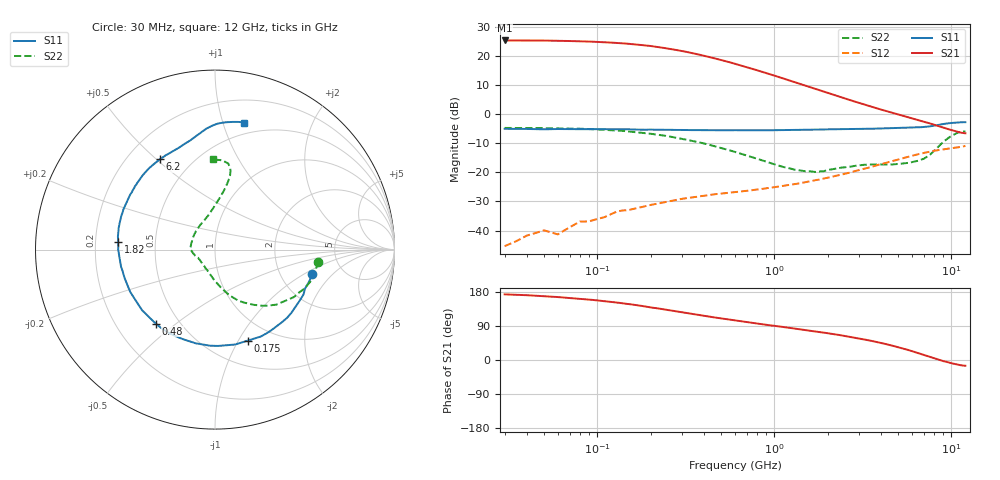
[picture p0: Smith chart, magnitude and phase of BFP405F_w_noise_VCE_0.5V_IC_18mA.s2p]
! Infineon Technologies  Discrete & RF Semiconductors
! BFP405F
! VCE =  0.5 V,  IC =  18 mA
! Common Emitter S-Parameters:  Nov 2015
# GHz  S  MA  R  50
!  f  S11  S21  S12  S22
! GHz  MAG  ANG  MAG  ANG  MAG  ANG  MAG  ANG
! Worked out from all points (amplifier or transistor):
!   239 points, 30 MHz to 12 GHz, reference 50 ohm
!   highest |S21| = 25.3 dB at 30 MHz (marker M1)
!   |S21| within 3 dB of that: start of sweep to 263.6 MHz
!   unconditionally stable (mu >= 1): start of sweep to 76.78 MHz; 525.9 MHz to end of sweep
!   at 300 MHz: K = 0.76, MSG = 25.4 dB, |S12| = -29.1 dB
!   at 1.88 GHz: K = 1.93, MAG = 9.4 dB, |S12| = -22.2 dB
!   at 12 GHz: K = 1.76, MAG = -2.9 dB, |S12| = -10.9 dB
!   lowest NFmin = 2.14 dB at 450 MHz
!   S11 on the Smith chart (normalised r, x): 30 MHz: 3.02, -1.17; 175 MHz: 0.77, -1.10; 480 MHz: 0.37, -0.43; 1.82 GHz: 0.30, +0.04; 6.2 GHz: 0.33, +0.51; 12 GHz: 0.40, +1.18
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0.03  0.5578 -13.9  18.3 173.2  0.0054 54.0  0.5778 -6.7
0.04  0.5547 -18.2  18.27 171.0  0.0082 78.8  0.5751 -9.0
0.05  0.5467 -23.6  18.24 168.2  0.0101 80.7  0.5729 -10.9
0.085  0.5511 -37.7  17.6 160.4  0.0143 77.2  0.5562 -19.7
0.105  0.5511 -45.5  17.18 156.3  0.0164 76.0  0.5398 -24.2
0.125  0.5477 -53.3  16.69 152.3  0.0203 73.2  0.5231 -27.9
0.14  0.5479 -58.6  16.35 149.5  0.0222 66.9  0.5133 -31.0
0.175  0.5389 -70.1  15.34 143.4  0.025 60.3  0.4787 -37.3
0.2  0.5406 -78.0  14.72 138.8  0.0275 57.2  0.4592 -41.9
0.24  0.537 -88.2  13.57 133.3  0.0307 54.7  0.4249 -47.4
0.32  0.5303 -105.4  11.63 124.0  0.036 50.6  0.3613 -57.1
0.4  0.5308 -118.8  10.01 116.6  0.0398 47.5  0.3132 -65.4
0.48  0.5274 -128.6  8.738 111.0  0.0424 45.3  0.2708 -71.6
0.6  0.5284 -140.4  7.266 104.3  0.0457 43.3  0.2235 -79.6
0.9  0.5259 -158.6  5.035 92.9  0.0532 43.6  0.1514 -96.7
1.2  0.532 -169.7  3.825 85.2  0.0601 44.6  0.1187 -114.9
1.64  0.5394 179.2  2.812 76.5  0.0714 46.5  0.1029 -140.5
1.82  0.5419 175.6  2.533 73.5  0.0758 47.1  0.1038 -150.2
2.7  0.5536 161.6  1.716 60.8  0.0997 47.0  0.125 -172.8
4.5  0.5705 139.6  1.077 39.4  0.1513 40.7  0.1362 162.6
6.2  0.5894 121.2  0.822 21.2  0.1969 30.7  0.1521 128.9
12  0.7245 77.1  0.468 -15.2  0.2845 0.4  0.5021 91.2
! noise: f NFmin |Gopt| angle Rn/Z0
0.45  2.14  0.04  -3  0.51
0.9  2.16  0.03  -6  0.3
1.5  2.2  0.02  -39  0.2
1.9  2.26  0.02  -85  0.26
2.4  2.41  0.02  -104  0.39
3  2.5  0.04  -109  0.06
3.5  2.58  0.06  -113  0.22
4.5  2.8  0.12  -102  0.4
5.5  3.09  0.21  -88  0.41
